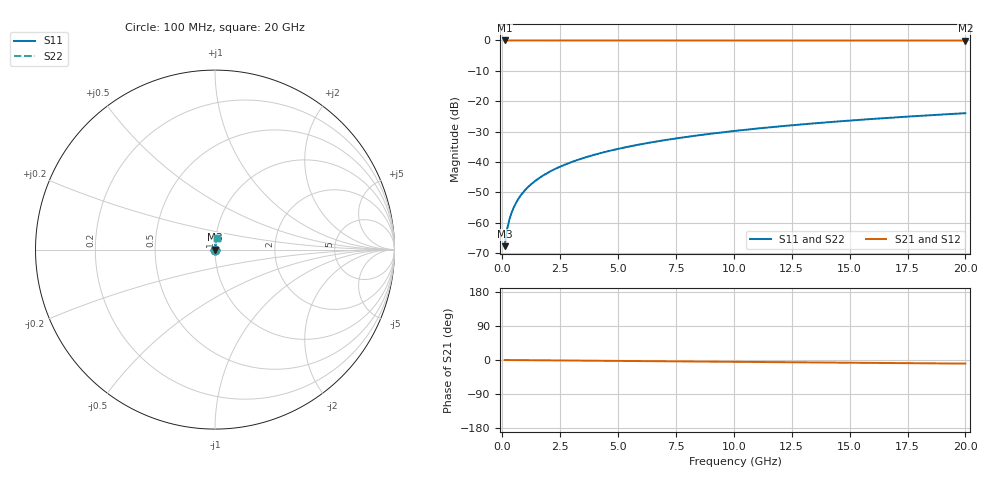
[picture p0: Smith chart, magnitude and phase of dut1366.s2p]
! Touchstone file exported from HFSS 2026.1.0
!  File:  C:/ffzhzh/LocalFiles/Ansys_Project_Files/temp_train_TSV_1366_1783196156_51560.aedt
!  Generated:  04:17:30 AM Jul  5, 2026
!  Design:  TSV
!  Project:  temp_train_TSV_1366_1783196156_51560
! Variables:
!  h_bsmrdl = 2um
!  h_ox = 20um
!  h_rdl = 5um
!  h_sub = 84.61um
!  h_tmrdl = 5um
!  h_tsv = 84.61um
!  h_via = 3um
!  l_bsmrdl = 300um
!  l_sub = 415.78um
!  l_tmrdl = 200um
!  m_sub = 200um
!  pitch = 54.49um
!  r_tsv = 7.89um
!  s_tmrdl = 10um
!  w_bsmrdl = 18um
!  w_sub = 500um
!  w_tmrdl = 12um
!  x_tsv_center1 = 206um
!  x_tsv_center2 = 524um
!  x_tsv_center3 = 736um
!  x_tsv_center4 = 1054um
!  x_tsv_center5 = 1266um
!  x_tsv_center6 = 1584um
# GHz S MA R 50.000000
! Terminal data exported
! Port[1] = TSV1_1_T1
! Port[2] = TSV1_1_T2
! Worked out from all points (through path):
!   200 points, 100 MHz to 20 GHz, reference 50 ohm
!   highest |S21| = 0.00 dB at 100 MHz (marker M1); lowest = 0.0 dB at 20 GHz (marker M2)
!   group delay of S21, straight-line fit = 1.32 ps
!   lowest |S11| = -67.8 dB at 100 MHz (marker M3), VSWR 1.00, Z = 50 + j0.0362 ohm
!   |S11| at or under -10 dB: start of sweep to end of sweep
!   |S22| runs from -67.8 to -24.0 dB; largest |S21 - S12| = 2.1e-15
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0.1  0.0004083 62.4  0.9998 -0.1  0.9998 -0.1  0.0004083 62.4
! Gamma 0 0 0 0
! Port Impedance 50 0 50 0
0.2  0.0007487 74.5  0.9998 -0.1  0.9998 -0.1  0.0007487 74.5
0.3  0.001099 78.6  0.9998 -0.2  0.9998 -0.2  0.001099 78.6
0.4  0.001449 80.5  0.9998 -0.2  0.9998 -0.2  0.001449 80.5
0.5  0.001796 81.6  0.9997 -0.2  0.9997 -0.2  0.001796 81.6
0.6  0.002138 82.2  0.9997 -0.3  0.9997 -0.3  0.002138 82.2
0.7  0.002477 82.7  0.9997 -0.3  0.9997 -0.3  0.002477 82.7
0.8  0.002812 83.0  0.9997 -0.4  0.9997 -0.4  0.002812 83.0
1  0.003475 83.5  0.9996 -0.5  0.9996 -0.5  0.003475 83.5
1.4  0.004781 84.2  0.9996 -0.7  0.9996 -0.7  0.004781 84.2
1.7  0.005754 84.5  0.9995 -0.8  0.9995 -0.8  0.005754 84.5
2  0.006724 84.7  0.9995 -1.0  0.9995 -1.0  0.006724 84.7
2.7  0.008985 85.0  0.9994 -1.3  0.9994 -1.3  0.008985 85.0
3.5  0.01156 85.1  0.9993 -1.7  0.9993 -1.7  0.01156 85.1
4.2  0.01381 85.0  0.9992 -2.0  0.9992 -2.0  0.01381 85.0
5  0.01637 84.9  0.9991 -2.4  0.9991 -2.4  0.01637 84.9
6.8  0.02209 84.4  0.9989 -3.3  0.9989 -3.3  0.02209 84.4
8.3  0.02684 83.9  0.9986 -4.0  0.9986 -4.0  0.02684 83.9
10.1  0.03251 83.2  0.9984 -4.8  0.9984 -4.8  0.03251 83.2
13.4  0.04286 81.9  0.9978 -6.4  0.9978 -6.4  0.04286 81.9
16.7  0.05314 80.5  0.9972 -8.0  0.9972 -8.0  0.05314 80.5
20  0.06332 79.1  0.9964 -9.5  0.9964 -9.5  0.06332 79.1
